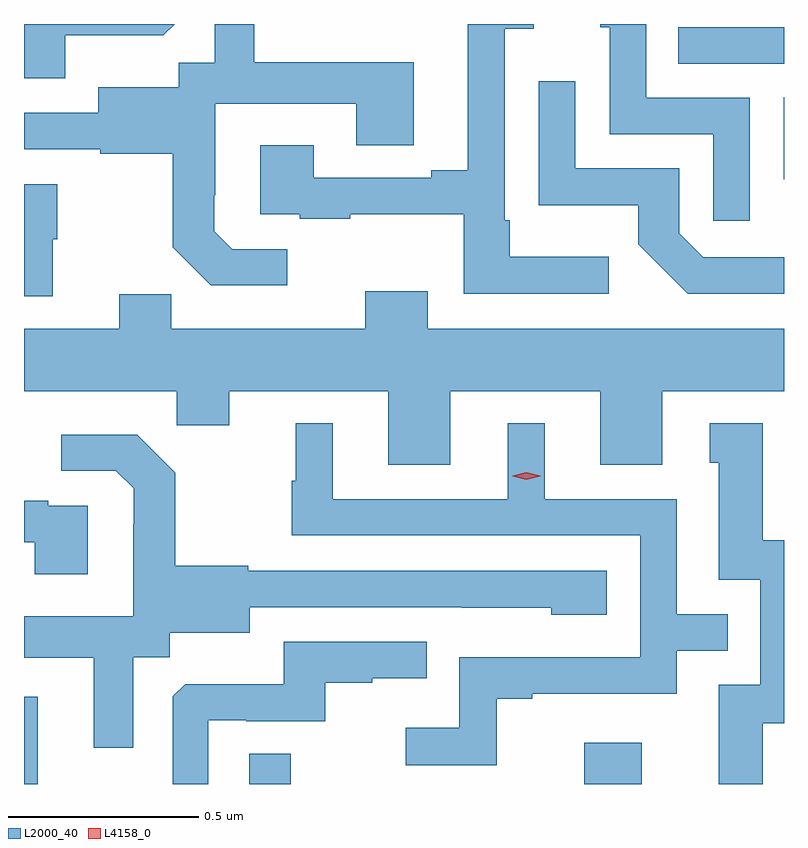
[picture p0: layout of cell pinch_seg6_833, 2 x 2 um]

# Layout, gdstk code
import gdstk
lib = gdstk.Library(unit=1e-6, precision=1e-09)
def R(c, l, rs):  # rectangles x0, y0, x1, y1
    for r in rs: c.add(gdstk.rectangle(r[:2], r[2:], *l))
def P(c, l, *ps):  # polygons
    for p in ps: c.add(gdstk.Polygon(p, *l))
L2000_40 = (2000, 40)
L4158_0 = (4158, 0)

pinch_seg6_833 = lib.new_cell('pinch_seg6_833')
R(pinch_seg6_833, L2000_40, [(220.639,971.61,220.675,971.839), (221.232,971.61,221.341,971.69), (222.113,971.61,222.265,971.719), (222.638,973.202,222.639,973.417), (222.361,973.506,222.639,973.602)])
P(pinch_seg6_833, L2000_40, [(222.549,973.416),(222.276,973.416),(222.276,973.61),(222.155,973.61),(222.155,973.602),(222.18,973.602),(222.18,973.32),(222.453,973.32),(222.453,973.092),(222.549,973.092)],
  [(222.178,972.997),(221.917,972.997),(221.917,973.093),(221.904,973.093),(221.904,973.598),(221.98,973.598),(221.98,973.61),(221.807,973.61),(221.807,973.225),(221.711,973.225),(221.711,973.206),(221.401,973.206),(221.401,973.291),(221.261,973.291),(221.261,973.11),(221.365,973.11),(221.365,973.098),(221.497,973.098),(221.497,973.109),(221.796,973.109),(221.796,972.9),(222.178,972.9)],
  [(220.747,973.58),(221.005,973.58),(221.036,973.61),(220.639,973.61),(220.639,973.467),(220.747,973.467)],
  [(221.332,973.017),(221.187,973.017),(221.14,973.064),(221.14,973.159),(221.142,973.159),(221.142,973.4),(221.513,973.4),(221.513,973.291),(221.665,973.291),(221.665,973.51),(221.245,973.51),(221.245,973.61),(221.141,973.61),(221.141,973.508),(221.046,973.508),(221.046,973.444),(220.835,973.444),(220.835,973.377),(220.639,973.377),(220.639,973.281),(220.839,973.281),(220.839,973.269),(221.031,973.269),(221.031,973.023),(221.131,972.923),(221.332,972.923)],
  [(222.639,972.996),(222.426,972.996),(222.363,973.059),(222.363,973.23),(222.09,973.23),(222.09,973.459),(221.994,973.459),(221.994,973.133),(222.256,973.133),(222.256,973.031),(222.386,972.9),(222.639,972.9)],
  [(220.714,973.044),(220.726,973.044),(220.726,973.188),(220.639,973.188),(220.639,972.893),(220.714,972.893)],
  [(221.761,972.644),(222.155,972.644),(222.155,972.45),(222.319,972.45),(222.319,972.644),(222.639,972.644),(222.639,972.808),(221.701,972.808),(221.701,972.907),(221.537,972.907),(221.537,972.808),(221.027,972.808),(221.027,972.899),(220.889,972.899),(220.889,972.808),(220.639,972.808),(220.639,972.644),(221.041,972.644),(221.041,972.554),(221.179,972.554),(221.179,972.644),(221.597,972.644),(221.597,972.45),(221.761,972.45)],
  [(221.883,971.835),(221.977,971.835),(221.977,971.847),(222.357,971.847),(222.357,971.961),(222.491,971.961),(222.491,972.057),(222.357,972.057),(222.357,972.36),(222.01,972.36),(222.01,972.559),(221.912,972.559),(221.912,972.36),(221.452,972.36),(221.452,972.559),(221.354,972.559),(221.354,972.408),(221.343,972.408),(221.343,972.264),(222.261,972.264),(222.261,971.943),(221.784,971.943),(221.784,971.758),(221.643,971.758),(221.643,971.66),(221.883,971.66)],
  [(222.583,971.77),(222.639,971.77),(222.639,972.251),(222.583,972.251),(222.583,972.559),(222.443,972.559),(222.443,972.456),(222.467,972.456),(222.467,972.147),(222.576,972.147),(222.576,971.871),(222.467,971.871),(222.467,971.61),(222.583,971.61)],
  [(220.927,971.944),(221.022,971.944),(221.022,972.008),(221.233,972.008),(221.233,972.075),(221.791,972.075),(221.791,972.074),(222.027,972.074),(222.027,972.056),(222.172,972.056),(222.172,972.171),(221.229,972.171),(221.229,972.184),(221.037,972.184),(221.037,972.429),(220.937,972.529),(220.737,972.529),(220.737,972.435),(220.881,972.435),(220.928,972.388),(220.928,972.293),(220.926,972.293),(220.926,972.052),(220.639,972.052),(220.639,971.942),(220.823,971.942),(220.823,971.706),(220.927,971.706)],
  [(220.807,972.342),(220.703,972.342),(220.703,972.355),(220.639,972.355),(220.639,972.246),(220.667,972.246),(220.667,972.162),(220.807,972.162)],
  [(221.124,971.778),(221.224,971.778),(221.224,971.775),(221.432,971.775),(221.432,971.877),(221.555,971.877),(221.555,971.888),(221.699,971.888),(221.699,971.985),(221.322,971.985),(221.322,971.873),(221.063,971.873),(221.031,971.841),(221.031,971.61),(221.124,971.61)])
P(pinch_seg6_833, L4158_0, [(221.961,972.411),(221.925,972.42),(221.925,972.421),(221.925,972.421),(221.961,972.431),(221.997,972.421),(221.997,972.421),(221.997,972.42)])

lib.write_gds('pinch_seg6_833.gds')
